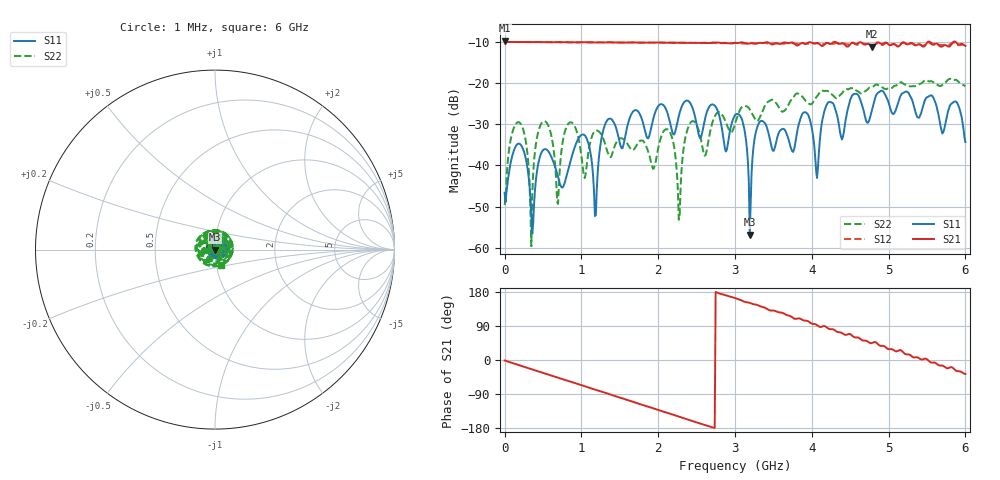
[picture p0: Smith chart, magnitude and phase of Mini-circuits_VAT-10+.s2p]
# GHZ S DB R 50
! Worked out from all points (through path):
!   501 points, 1 MHz to 6 GHz, reference 50 ohm
!   highest |S21| = -9.63 dB at 1 MHz (marker M1); lowest = -11.1 dB at 4.788 GHz (marker M2)
!   group delay of S21, straight-line fit = 182 ps
!   lowest |S11| = -56.9 dB at 3.192 GHz (marker M3), VSWR 1.00, Z = 50.1 + j0.0114 ohm
!   |S11| at or under -10 dB: start of sweep to end of sweep
!   |S22| runs from -59.6 to -18.9 dB; largest |S21 - S12| = 0.02
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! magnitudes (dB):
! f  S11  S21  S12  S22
! 1 MHz  -46.6  -9.6  -9.6  -49.6
! 169 MHz  -34.8  -10.0  -10.0  -29.5
! 360.9 MHz  -56.6  -10.0  -10.0  -47.0
! 504.9 MHz  -36.2  -10.0  -10.0  -29.3
! 684.9 MHz  -42.0  -10.0  -10.0  -48.8
! 840.9 MHz  -40.2  -10.0  -10.0  -29.6
! 1.009 GHz  -32.5  -10.0  -10.0  -38.8
! 1.177 GHz  -52.3  -10.1  -10.0  -31.6
! 1.333 GHz  -29.1  -10.0  -10.0  -36.3
! 2.005 GHz  -25.5  -10.1  -10.1  -35.4
! 2.161 GHz  -30.0  -10.2  -10.1  -32.2
! 2.269 GHz  -28.0  -10.1  -10.2  -53.2
! 2.425 GHz  -25.0  -10.1  -10.2  -29.5
! 3.001 GHz  -27.7  -10.1  -10.2  -29.7
! 3.192 GHz  -56.9  -10.3  -10.2  -26.3
! 3.324 GHz  -29.3  -10.2  -10.3  -28.3
! 4.008 GHz  -31.8  -10.2  -10.3  -24.8
! 4.068 GHz  -43.0  -10.2  -10.3  -23.2
! 4.212 GHz  -24.6  -10.2  -10.2  -21.9
! 4.788 GHz  -26.1  -11.1  -10.7  -20.9
! 5.004 GHz  -24.9  -10.6  -10.4  -21.3
! 6 GHz  -34.3  -10.9  -10.7  -20.7
